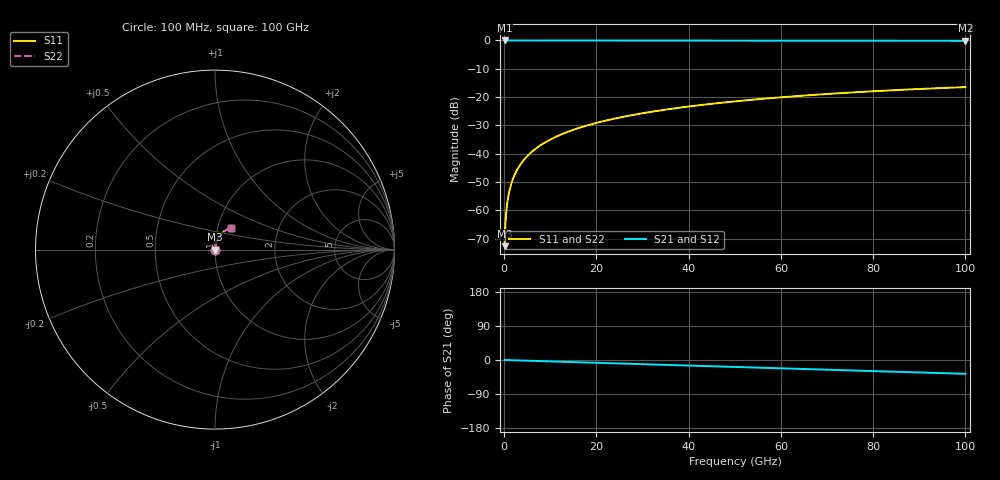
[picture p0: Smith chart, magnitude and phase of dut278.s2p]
! Touchstone file exported from HFSS 2026.1.0
!  File:  C:/ffzhzh/LocalFiles/Ansys_Project_Files/temp_train_TSV_278_1783508793_41296.aedt
!  Generated:  07:07:47 PM Jul  8, 2026
!  Design:  TSV
!  Project:  temp_train_TSV_278_1783508793_41296
! Variables:
!  h_bsmrdl = 2um
!  h_ox = 20um
!  h_rdl = 5um
!  h_sub = 65.18um
!  h_tmrdl = 5um
!  h_tsv = 65.18um
!  h_via = 3um
!  l_bsmrdl = 300um
!  l_sub = 420.22um
!  l_tmrdl = 200um
!  m_sub = 200um
!  pitch = 56.26um
!  r_tsv = 10.11um
!  s_tmrdl = 10um
!  w_bsmrdl = 18um
!  w_sub = 500um
!  w_tmrdl = 12um
!  x_tsv_center1 = 206um
!  x_tsv_center2 = 524um
!  x_tsv_center3 = 736um
!  x_tsv_center4 = 1054um
!  x_tsv_center5 = 1266um
!  x_tsv_center6 = 1584um
# GHz S MA R 50.000000
! Terminal data exported
! Port[1] = TSV1_1_T1
! Port[2] = TSV1_1_T2
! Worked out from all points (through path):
!   1000 points, 100 MHz to 100 GHz, reference 50 ohm
!   highest |S21| = 0.00 dB at 100 MHz (marker M1); lowest = -0.1 dB at 100 GHz (marker M2)
!   group delay of S21, straight-line fit = 1.01 ps
!   lowest |S11| = -72.6 dB at 100 MHz (marker M3), VSWR 1.00, Z = 50 + j0.021 ohm
!   |S11| at or under -10 dB: start of sweep to end of sweep
!   |S22| runs from -72.6 to -16.5 dB; largest |S21 - S12| = 4.9e-15
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0.1  0.0002347 63.4  0.9999 -0.0  0.9999 -0.0  0.0002347 63.4
! Gamma 0 0 0 0
! Port Impedance 50 0 50 0
0.3  0.0006328 78.1  0.9999 -0.1  0.9999 -0.1  0.0006328 78.1
0.7  0.0014 81.8  0.9998 -0.3  0.9998 -0.3  0.0014 81.8
0.8  0.001585 82.2  0.9998 -0.3  0.9998 -0.3  0.001585 82.2
1  0.001953 82.8  0.9998 -0.4  0.9998 -0.4  0.001953 82.8
1.3  0.0025 83.5  0.9997 -0.5  0.9997 -0.5  0.0025 83.5
1.7  0.003225 84.0  0.9997 -0.6  0.9997 -0.6  0.003225 84.0
2.3  0.004305 84.5  0.9996 -0.9  0.9996 -0.9  0.004305 84.5
3  0.005555 84.7  0.9996 -1.1  0.9996 -1.1  0.005555 84.7
3.8  0.006974 84.9  0.9995 -1.4  0.9995 -1.4  0.006974 84.9
4.8  0.008738 84.9  0.9995 -1.8  0.9995 -1.8  0.008738 84.9
6  0.01085 84.8  0.9994 -2.2  0.9994 -2.2  0.01085 84.8
8.8  0.01575 84.2  0.9992 -3.3  0.9992 -3.3  0.01575 84.2
12.4  0.022 83.3  0.9989 -4.6  0.9989 -4.6  0.022 83.3
16.8  0.02958 81.9  0.9986 -6.2  0.9986 -6.2  0.02958 81.9
24.2  0.04219 79.5  0.998 -8.9  0.998 -8.9  0.04219 79.5
33.4  0.05757 76.4  0.997 -12.3  0.997 -12.3  0.05757 76.4
41.2  0.07027 73.7  0.996 -15.1  0.996 -15.1  0.07027 73.7
50.1  0.08431 70.5  0.9948 -18.4  0.9948 -18.4  0.08431 70.5
66.7  0.109 64.6  0.9921 -24.4  0.9921 -24.4  0.109 64.6
83.4  0.1312 58.7  0.9892 -30.5  0.9892 -30.5  0.1312 58.7
100  0.1503 52.8  0.9862 -36.5  0.9862 -36.5  0.1503 52.8
